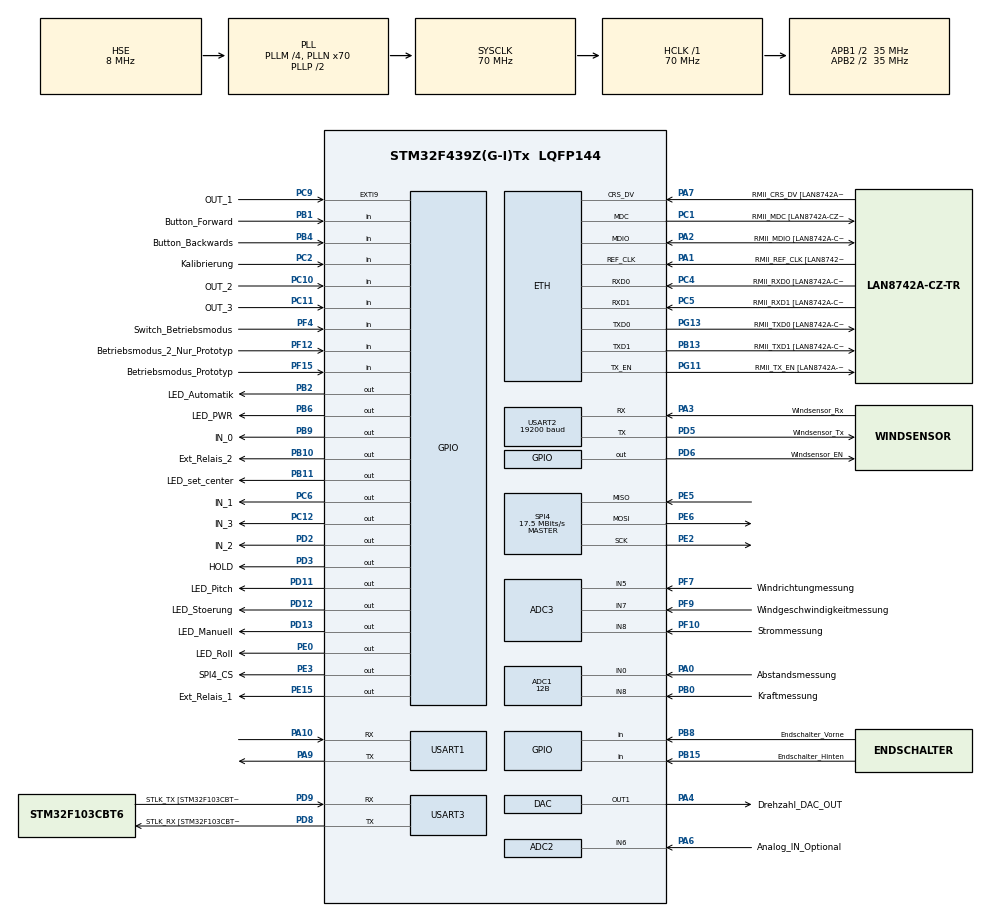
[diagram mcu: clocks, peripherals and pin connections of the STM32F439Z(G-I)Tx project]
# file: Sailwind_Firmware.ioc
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ADC1.Channel-0\#ChannelRegularConversion=ADC_CHANNEL_0
ADC1.Channel-1\#ChannelRegularConversion=ADC_CHANNEL_8
ADC1.ClockPrescaler=ADC_CLOCK_SYNC_PCLK_DIV4
ADC1.ContinuousConvMode=ENABLE
ADC1.NbrOfConversion=2
ADC1.NbrOfConversionFlag=1
ADC1.Rank-0\#ChannelRegularConversion=1
ADC1.Rank-1\#ChannelRegularConversion=2
ADC1.Resolution=ADC_RESOLUTION_12B
ADC1.SamplingTime-0\#ChannelRegularConversion=ADC_SAMPLETIME_144CYCLES
ADC1.SamplingTime-1\#ChannelRegularConversion=ADC_SAMPLETIME_15CYCLES
ADC1.ScanConvMode=ENABLE
ADC1.master=1
ADC2.Channel-1\#ChannelRegularConversion=ADC_CHANNEL_6
ADC2.ClockPrescaler=ADC_CLOCK_SYNC_PCLK_DIV4
ADC2.NbrOfConversionFlag=1
ADC2.Rank-1\#ChannelRegularConversion=1
ADC2.SamplingTime-1\#ChannelRegularConversion=ADC_SAMPLETIME_3CYCLES
ADC3.Channel-2\#ChannelRegularConversion=ADC_CHANNEL_8
ADC3.Channel-3\#ChannelRegularConversion=ADC_CHANNEL_7
ADC3.Channel-4\#ChannelRegularConversion=ADC_CHANNEL_5
ADC3.ClockPrescaler=ADC_CLOCK_SYNC_PCLK_DIV4
ADC3.ContinuousConvMode=ENABLE
ADC3.NbrOfConversion=3
ADC3.NbrOfConversionFlag=1
ADC3.Rank-2\#ChannelRegularConversion=1
ADC3.Rank-3\#ChannelRegularConversion=2
ADC3.Rank-4\#ChannelRegularConversion=3
ADC3.SamplingTime-2\#ChannelRegularConversion=ADC_SAMPLETIME_480CYCLES
ADC3.SamplingTime-3\#ChannelRegularConversion=ADC_SAMPLETIME_480CYCLES
ADC3.SamplingTime-4\#ChannelRegularConversion=ADC_SAMPLETIME_480CYCLES
ETH.MediaInterface=HAL_ETH_RMII_MODE
ETH.PHY_Name=LAN8742A_PHY_ADDRESS
ETH.PHY_Value=0
ETH.PhyAddress=0
LWIP.BSP.number=1
LWIP.GATEWAY_ADDRESS=192.168.000.001
LWIP.IP_ADDRESS=192.168.000.123
LWIP.LWIP_DHCP=0
LWIP.LWIP_HTTPD=1
LWIP.LWIP_HTTPD_CGI=1
LWIP.LWIP_HTTPD_SSI=1
LWIP.MEM_SIZE=10*1024
LWIP.NETMASK_ADDRESS=255.255.255.000
LWIP.Version=v2.1.2_Cube
LWIP0.BSP.STBoard=false
LWIP0.BSP.api=BSP_COMPONENT_DRIVER
LWIP0.BSP.component=LAN8742
LWIP0.BSP.instance=LAN8742
LWIP0.BSP.name=Driver_PHY
LWIP0.BSP.semaphore=S_LAN8742
LWIP0.BSP.solution=LAN8742
Mcu.Family=STM32F4
Mcu.Name=STM32F439Z(G-I)Tx
Mcu.Package=LQFP144
NVIC.EXTI9_5_IRQn=true\:0\:0\:false\:false\:true\:true\:true\:true
NVIC.PriorityGroup=NVIC_PRIORITYGROUP_4
NVIC.TIM1_TRG_COM_TIM11_IRQn=true\:0\:0\:false\:false\:true\:true\:true\:true
NVIC.TIM1_UP_TIM10_IRQn=true\:0\:0\:false\:false\:true\:true\:true\:true
NVIC.TIM2_IRQn=true\:0\:0\:false\:false\:true\:true\:true\:true
NVIC.USART1_IRQn=true\:0\:0\:false\:false\:true\:true\:true\:true
NVIC.USART3_IRQn=true\:0\:0\:false\:false\:true\:true\:true\:true
PA0/WKUP.GPIO_Label=Abstandsmessung
PA0/WKUP.Signal=SharedAnalog_PA0
PA1.GPIO_Label=RMII_REF_CLK [LAN8742A-CZ-TR_REFCLK0]
PA1.Mode=RMII
PA1.Signal=ETH_REF_CLK
PA10.Mode=Asynchronous
PA10.Signal=USART1_RX
PA2.GPIO_Label=RMII_MDIO [LAN8742A-CZ-TR_MDIO]
PA2.Mode=RMII
PA2.Signal=ETH_MDIO
PA3.GPIO_Label=Windsensor_Rx
PA3.Mode=Asynchronous
PA3.Signal=USART2_RX
PA4.GPIO_Label=Drehzahl_DAC_OUT
PA4.Signal=SharedAnalog_PA4
PA6.GPIO_Label=Analog_IN_Optional
PA6.Signal=SharedAnalog_PA6
PA7.GPIO_Label=RMII_CRS_DV [LAN8742A-CZ-TR_CRS_DV]
PA7.Mode=RMII
PA7.Signal=ETH_CRS_DV
PA9.Mode=Asynchronous
PA9.Signal=USART1_TX
PB0.GPIO_Label=Kraftmessung
PB0.Signal=SharedAnalog_PB0
PB1.GPIO_Label=Button_Forward
PB1.Signal=GPIO_Input
PB10.GPIO_Label=Ext_Relais_2
PB10.Signal=GPIO_Output
PB11.GPIO_Label=LED_set_center
PB11.Signal=GPIO_Output
PB13.GPIO_Label=RMII_TXD1 [LAN8742A-CZ-TR_TXD1]
PB13.Mode=RMII
PB13.Signal=ETH_TXD1
PB15.GPIO_Label=Endschalter_Hinten
PB15.GPIO_PuPd=GPIO_PULLDOWN
PB15.Signal=GPIO_Input
PB2/BOOT1.GPIO_Label=LED_Automatik
PB2/BOOT1.PinState=GPIO_PIN_RESET
PB2/BOOT1.Signal=GPIO_Output
PB4.GPIO_Label=Button_Backwards
PB4.GPIO_PuPd=GPIO_NOPULL
PB4.Signal=GPIO_Input
PB6.GPIO_Label=LED_PWR
PB6.PinState=GPIO_PIN_SET
PB6.Signal=GPIO_Output
PB8.GPIO_Label=Endschalter_Vorne
PB8.GPIO_PuPd=GPIO_PULLDOWN
PB8.Signal=GPIO_Input
PB9.GPIO_Label=IN_0
PB9.GPIO_PuPd=GPIO_PULLDOWN
PB9.PinState=GPIO_PIN_RESET
PB9.Signal=GPIO_Output
PC1.GPIO_Label=RMII_MDC [LAN8742A-CZ-TR_MDC]
PC1.Mode=RMII
PC1.Signal=ETH_MDC
PC10.GPIO_Label=OUT_2
PC10.Signal=GPIO_Input
PC11.GPIO_Label=OUT_3
PC11.Signal=GPIO_Input
PC12.GPIO_Label=IN_3
PC12.GPIO_PuPd=GPIO_PULLDOWN
PC12.PinState=GPIO_PIN_RESET
PC12.Signal=GPIO_Output
PC14/OSC32_IN.Mode=LSE-External-Oscillator
PC14/OSC32_IN.Signal=RCC_OSC32_IN
PC15/OSC32_OUT.Mode=LSE-External-Oscillator
PC15/OSC32_OUT.Signal=RCC_OSC32_OUT
PC2.GPIO_Label=Kalibrierung
PC2.Signal=GPIO_Input
PC4.GPIO_Label=RMII_RXD0 [LAN8742A-CZ-TR_RXD0]
PC4.Mode=RMII
PC4.Signal=ETH_RXD0
PC5.GPIO_Label=RMII_RXD1 [LAN8742A-CZ-TR_RXD1]
PC5.Mode=RMII
PC5.Signal=ETH_RXD1
PC6.GPIO_Label=IN_1
PC6.GPIO_PuPd=GPIO_PULLDOWN
PC6.PinState=GPIO_PIN_RESET
PC6.Signal=GPIO_Output
PC9.GPIO_Label=OUT_1
PC9.Signal=GPXTI9
PD11.GPIO_Label=LED_Pitch
PD11.PinState=GPIO_PIN_RESET
PD11.Signal=GPIO_Output
PD12.GPIO_Label=LED_Stoerung
PD12.PinState=GPIO_PIN_RESET
PD12.Signal=GPIO_Output
PD13.GPIO_Label=LED_Manuell
PD13.PinState=GPIO_PIN_RESET
PD13.Signal=GPIO_Output
PD2.GPIO_Label=IN_2
PD2.GPIO_PuPd=GPIO_PULLDOWN
PD2.PinState=GPIO_PIN_RESET
PD2.Signal=GPIO_Output
PD3.GPIO_Label=HOLD
PD3.GPIO_PuPd=GPIO_PULLUP
PD3.PinState=GPIO_PIN_SET
PD3.Signal=GPIO_Output
PD5.GPIO_Label=Windsensor_Tx
PD5.Mode=Asynchronous
PD5.Signal=USART2_TX
PD6.GPIO_Label=Windsensor_EN
PD6.PinState=GPIO_PIN_RESET
PD6.Signal=GPIO_Output
PD8.GPIO_Label=STLK_RX [STM32F103CBT6_PA3]
PD8.Mode=Asynchronous
PD8.Signal=USART3_TX
PD9.GPIO_Label=STLK_TX [STM32F103CBT6_PA2]
PD9.Mode=Asynchronous
PD9.Signal=USART3_RX
PE0.GPIO_Label=LED_Roll
PE0.Signal=GPIO_Output
PE15.GPIO_Label=Ext_Relais_1
PE15.Signal=GPIO_Output
PE2.Mode=Full_Duplex_Master
PE2.Signal=SPI4_SCK
PE3.GPIO_Label=SPI4_CS
PE3.GPIO_PuPd=GPIO_PULLUP
PE3.PinState=GPIO_PIN_SET
PE3.Signal=GPIO_Output
PE5.Mode=Full_Duplex_Master
PE5.Signal=SPI4_MISO
PE6.Mode=Full_Duplex_Master
PE6.Signal=SPI4_MOSI
PF10.GPIO_Label=Strommessung
PF10.Signal=SharedAnalog_PF10
PF12.GPIO_Label=Betriebsmodus_2_Nur_Prototyp
PF12.Signal=GPIO_Input
PF15.GPIO_Label=Betriebsmodus_Prototyp
PF15.Signal=GPIO_Input
PF4.GPIO_Label=Switch_Betriebsmodus
PF4.Signal=GPIO_Input
PF7.GPIO_Label=Windrichtungmessung
PF7.Signal=SharedAnalog_PF7
PF9.GPIO_Label=Windgeschwindigkeitmessung
PF9.Signal=SharedAnalog_PF9
PG11.GPIO_Label=RMII_TX_EN [LAN8742A-CZ-TR_TXEN]
PG11.Mode=RMII
PG11.Signal=ETH_TX_EN
PG13.GPIO_Label=RMII_TXD0 [LAN8742A-CZ-TR_TXD0]
PG13.Mode=RMII
PG13.Signal=ETH_TXD0
PH0/OSC_IN.GPIO_Label=MCO [STM32F103CBT6_PA8]
PH0/OSC_IN.Mode=HSE-External-Clock-Source
PH0/OSC_IN.Signal=RCC_OSC_IN
PH1/OSC_OUT.Mode=HSE-External-Clock-Source
PH1/OSC_OUT.Signal=RCC_OSC_OUT
ProjectManager.HeapSize=0x200
ProjectManager.StackSize=0x400
ProjectManager.TargetToolchain=STM32CubeIDE
RCC.48MHZClocksFreq_Value=20000000
RCC.AHBFreq_Value=70000000
RCC.APB1CLKDivider=RCC_HCLK_DIV2
RCC.APB1Freq_Value=35000000
RCC.APB1TimFreq_Value=70000000
RCC.APB2CLKDivider=RCC_HCLK_DIV2
RCC.APB2Freq_Value=35000000
RCC.APB2TimFreq_Value=70000000
RCC.CortexFreq_Value=70000000
RCC.HCLKFreq_Value=70000000
RCC.HSE_VALUE=8000000
RCC.HSI_VALUE=16000000
RCC.PLLM=4
RCC.PLLMUL=RCC_PLL_MUL9
RCC.PLLN=70
RCC.PLLQ=7
RCC.PLLSourceVirtual=RCC_PLLSOURCE_HSE
RCC.PRESCALERUSB=RCC_USBCLKSOURCE_PLL_DIV1_5
RCC.SYSCLKFreq_VALUE=70000000
RCC.SYSCLKSource=RCC_SYSCLKSOURCE_PLLCLK
RCC.SYSCLKSourceVirtual=RCC_SYSCLKSOURCE_PLLCLK
RCC.USBFreq_Value=48000000
RCC.VCOOutputFreq_Value=140000000
SH.SharedAnalog_PA0.0=GPIO_Analog
SH.SharedAnalog_PA0.1=ADC1_IN0,IN0
SH.SharedAnalog_PA4.0=GPIO_Analog
SH.SharedAnalog_PA4.1=DAC_OUT1,DAC_OUT1
SH.SharedAnalog_PA6.0=GPIO_Analog
SH.SharedAnalog_PA6.1=ADC2_IN6,IN6
SH.SharedAnalog_PB0.0=GPIO_Analog
SH.SharedAnalog_PB0.1=ADC1_IN8,IN8
SH.SharedAnalog_PF10.0=GPIO_Analog
SH.SharedAnalog_PF10.1=ADC3_IN8,IN8
SH.SharedAnalog_PF7.0=GPIO_Analog
SH.SharedAnalog_PF7.1=ADC3_IN5,IN5
SH.SharedAnalog_PF9.0=GPIO_Analog
SH.SharedAnalog_PF9.1=ADC3_IN7,IN7
SPI4.CalculateBaudRate=17.5 MBits/s
SPI4.Direction=SPI_DIRECTION_2LINES
SPI4.Mode=SPI_MODE_MASTER
SPI4.VirtualType=VM_MASTER
TIM10.AutoReloadPreload=TIM_AUTORELOAD_PRELOAD_ENABLE
TIM10.Period=7000
TIM10.Prescaler=10000
TIM11.AutoReloadPreload=TIM_AUTORELOAD_PRELOAD_ENABLE
TIM11.Period=7000
TIM11.Prescaler=2000
TIM2.Period=10000
TIM2.Prescaler=2999
USART1.VirtualMode=VM_ASYNC
USART2.BaudRate=19200
USART2.VirtualMode=VM_ASYNC
USART3.VirtualMode=VM_ASYNC
VP_LWIP_VS_Enabled.Mode=Enabled
VP_TIM10_VS_ClockSourceINT.Mode=Enable_Timer
VP_TIM11_VS_ClockSourceINT.Mode=Enable_Timer
VP_TIM2_VS_ClockSourceINT.Mode=Internal
board=NUCLEO-F439ZI

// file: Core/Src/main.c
/* USER CODE BEGIN Header */
/**
 ******************************************************************************
 * @file           : main.c
 * @brief          : Main program body
 ******************************************************************************
 * @attention
 *
 * Copyright (c) 2023 STMicroelectronics.
 * All rights reserved.
 *
 * This software is licensed under terms that can be found in the LICENSE file
 * in the root directory of this software component.
 * If no LICENSE file comes with this software, it is provided AS-IS.
 *
 ******************************************************************************
 */
/* USER CODE END Header */
#include "main.h"
#include "lwip.h"

/* USER CODE BEGIN Includes */
#include "FRAM.h"
#include "WSWD.h"
#include "Manual_Control.h"
#include "Test.h"
#include "httpd.h"
#include "tcp_server.h"
#include "http_ssi_cgi.h"

/* USER CODE END Includes */

/* USER CODE BEGIN PD */
#define ABSTAND_TEST 0
#define STROM_TEST 0
#define WIND_TEST 0
/* USER CODE END PD */

ADC_HandleTypeDef hadc1;
ADC_HandleTypeDef hadc2;
ADC_HandleTypeDef hadc3;

DAC_HandleTypeDef hdac;

SPI_HandleTypeDef hspi4;

TIM_HandleTypeDef htim2;
TIM_HandleTypeDef htim10;
TIM_HandleTypeDef htim11;

UART_HandleTypeDef huart1;
UART_HandleTypeDef huart2;
UART_HandleTypeDef huart3;

/* USER CODE BEGIN PV */

static Linear_Guide_t *linear_guide = {0};
static Manual_Control_t manual_control;

char Rx_buffer[20];

/* USER CODE END PV */

void SystemClock_Config(void);
static void MX_GPIO_Init(void);
static void MX_USART3_UART_Init(void);
static void MX_ADC1_Init(void);
static void MX_ADC2_Init(void);
static void MX_ADC3_Init(void);
static void MX_DAC_Init(void);
static void MX_USART2_UART_Init(void);
static void MX_SPI4_Init(void);
static void MX_USART1_UART_Init(void);
static void MX_TIM2_Init(void);
static void MX_TIM10_Init(void);
static void MX_TIM11_Init(void);

/* USER CODE BEGIN 0 */
PUTCHAR_PROTOTYPE
{
  /* Place your implementation of fputc here */
  /* e.g. write a character to the USART1 and Loop until the end of transmission */
  HAL_UART_Transmit(&huart3, (uint8_t *)&ch, 1, 0xFFFF);

  return ch;
}
/* USER CODE END 0 */

int main(void)
{
  /* USER CODE BEGIN 1 */
	hdac.State = HAL_DAC_STATE_RESET;
  /* USER CODE END 1 */

  /* MCU Configuration--------------------------------------------------------*/

  /* Reset of all peripherals, Initializes the Flash interface and the Systick. */
  HAL_Init();

  /* Configure the system clock */
  SystemClock_Config();

  /* Initialize all configured peripherals */
  MX_GPIO_Init();
  MX_USART3_UART_Init();
  MX_ADC1_Init();
  MX_ADC2_Init();
  MX_ADC3_Init();
  MX_DAC_Init();
  MX_USART2_UART_Init();
  MX_SPI4_Init();
  MX_USART1_UART_Init();
  MX_LWIP_Init();
  MX_TIM2_Init();
  MX_TIM10_Init();
  MX_TIM11_Init();
  /* USER CODE BEGIN 2 */
  IO_init_distance_sensor(&hadc1);
  IO_init_current_sensor(&hadc3);
  Linear_Guide_init(&hdac, &htim11);
  linear_guide = LG_get_Linear_Guide();
  manual_control = Manual_Control_init(linear_guide, &htim10);

  printf("Sailwind Firmware Ver. 1.0\r\n");

#if LED_TEST
  LED_toggle(&linear_guide.leds.center_pos_set);
  LED_toggle(&linear_guide.leds.error);
  LED_toggle(&linear_guide.leds.manual);
  LED_toggle(&linear_guide.leds.automatic);
  LED_toggle(&linear_guide.leds.rollung);
  LED_toggle(&linear_guide.leds.trimmung);
#endif
#if MOTOR_TEST
  motor_start_moving(&linear_guide.motor, motor_moving_state_rechtslauf);
#endif

#if FRAM_TEST
  uint8_t test[4];
  memset(test, 0, sizeof(test));
  FRAM_init();
  FRAM_write((uint8_t*)"Test", 0x0000, 4);
  HAL_Delay(5);
  FRAM_read(0x0000, test, sizeof(test));
  printf("read from FRAM: %u\r\n", test);
#endif

#if WIND_TEST
  char NMEA[31];
  float speed = 0.0;
  float dir = 0.0;
  WSWD_receive_NMEA(NMEA);
  printf("%s",NMEA);
  WSWD_get_wind_infos(NMEA, &speed, &dir);
  printf("speed:%f, dir:%f\r\n", speed, dir);
#endif

  tcp_server_init();
  http_server_init();

  /* USER CODE END 2 */

  /* Infinite loop */
  /* USER CODE BEGIN WHILE */
  while (1)
  {
      MX_LWIP_Process();
      if (Linear_Guide_update(linear_guide) == LG_UPDATE_NORMAL)
      {
    	  //Test_uart_poll(&huart3, Rx_buffer, &manual_control);
    	  Manual_Control_poll(&manual_control);
    	  Manual_Control_Localization(&manual_control);
      }
      /*
       * add tcp handling
       */
    /* USER CODE END WHILE */

  }
}

void SystemClock_Config(void)
{
  RCC_OscInitTypeDef RCC_OscInitStruct = {0};
  RCC_ClkInitTypeDef RCC_ClkInitStruct = {0};

  /** Configure the main internal regulator output voltage
  */
  __HAL_RCC_PWR_CLK_ENABLE();
  __HAL_PWR_VOLTAGESCALING_CONFIG(PWR_REGULATOR_VOLTAGE_SCALE3);

  /** Initializes the RCC Oscillators according to the specified parameters
  * in the RCC_OscInitTypeDef structure.
  */
  RCC_OscInitStruct.OscillatorType = RCC_OSCILLATORTYPE_HSE;
  RCC_OscInitStruct.HSEState = RCC_HSE_BYPASS;
  RCC_OscInitStruct.PLL.PLLState = RCC_PLL_ON;
  RCC_OscInitStruct.PLL.PLLSource = RCC_PLLSOURCE_HSE;
  RCC_OscInitStruct.PLL.PLLM = 4;
  RCC_OscInitStruct.PLL.PLLN = 70;
  RCC_OscInitStruct.PLL.PLLP = RCC_PLLP_DIV2;
  RCC_OscInitStruct.PLL.PLLQ = 7;
  if (HAL_RCC_OscConfig(&RCC_OscInitStruct) != HAL_OK)
  {
    Error_Handler();
  }

  /** Initializes the CPU, AHB and APB buses clocks
  */
  RCC_ClkInitStruct.ClockType = RCC_CLOCKTYPE_HCLK|RCC_CLOCKTYPE_SYSCLK
                              |RCC_CLOCKTYPE_PCLK1|RCC_CLOCKTYPE_PCLK2;
  RCC_ClkInitStruct.SYSCLKSource = RCC_SYSCLKSOURCE_PLLCLK;
  RCC_ClkInitStruct.AHBCLKDivider = RCC_SYSCLK_DIV1;
  RCC_ClkInitStruct.APB1CLKDivider = RCC_HCLK_DIV2;
  RCC_ClkInitStruct.APB2CLKDivider = RCC_HCLK_DIV2;

  if (HAL_RCC_ClockConfig(&RCC_ClkInitStruct, FLASH_LATENCY_2) != HAL_OK)
  {
    Error_Handler();
  }
}

static void MX_ADC1_Init(void)
{

  /** Configure the global features of the ADC (Clock, Resolution, Data Alignment and number of conversion)
  */
  hadc1.Instance = ADC1;
  hadc1.Init.ClockPrescaler = ADC_CLOCK_SYNC_PCLK_DIV4;
  hadc1.Init.Resolution = ADC_RESOLUTION_12B;
  hadc1.Init.ScanConvMode = ENABLE;
  hadc1.Init.ContinuousConvMode = ENABLE;
  hadc1.Init.DiscontinuousConvMode = DISABLE;
  hadc1.Init.ExternalTrigConvEdge = ADC_EXTERNALTRIGCONVEDGE_NONE;
  hadc1.Init.ExternalTrigConv = ADC_SOFTWARE_START;
  hadc1.Init.DataAlign = ADC_DATAALIGN_RIGHT;
  hadc1.Init.NbrOfConversion = 2;
  hadc1.Init.DMAContinuousRequests = DISABLE;
  hadc1.Init.EOCSelection = ADC_EOC_SINGLE_CONV;
  if (HAL_ADC_Init(&hadc1) != HAL_OK)
  {
    Error_Handler();
  }

}

static void MX_ADC2_Init(void)
{

  /** Configure the global features of the ADC (Clock, Resolution, Data Alignment and number of conversion)
  */
  hadc2.Instance = ADC2;
  hadc2.Init.ClockPrescaler = ADC_CLOCK_SYNC_PCLK_DIV4;
  hadc2.Init.Resolution = ADC_RESOLUTION_12B;
  hadc2.Init.ScanConvMode = DISABLE;
  hadc2.Init.ContinuousConvMode = DISABLE;
  hadc2.Init.DiscontinuousConvMode = DISABLE;
  hadc2.Init.ExternalTrigConvEdge = ADC_EXTERNALTRIGCONVEDGE_NONE;
  hadc2.Init.ExternalTrigConv = ADC_SOFTWARE_START;
  hadc2.Init.DataAlign = ADC_DATAALIGN_RIGHT;
  hadc2.Init.NbrOfConversion = 1;
  hadc2.Init.DMAContinuousRequests = DISABLE;
  hadc2.Init.EOCSelection = ADC_EOC_SINGLE_CONV;
  if (HAL_ADC_Init(&hadc2) != HAL_OK)
  {
    Error_Handler();
  }

}

static void MX_ADC3_Init(void)
{

  /** Configure the global features of the ADC (Clock, Resolution, Data Alignment and number of conversion)
  */
  hadc3.Instance = ADC3;
  hadc3.Init.ClockPrescaler = ADC_CLOCK_SYNC_PCLK_DIV4;
  hadc3.Init.Resolution = ADC_RESOLUTION_12B;
  hadc3.Init.ScanConvMode = ENABLE;
  hadc3.Init.ContinuousConvMode = ENABLE;
  hadc3.Init.DiscontinuousConvMode = DISABLE;
  hadc3.Init.ExternalTrigConvEdge = ADC_EXTERNALTRIGCONVEDGE_NONE;
  hadc3.Init.ExternalTrigConv = ADC_SOFTWARE_START;
  hadc3.Init.DataAlign = ADC_DATAALIGN_RIGHT;
  hadc3.Init.NbrOfConversion = 3;
  hadc3.Init.DMAContinuousRequests = DISABLE;
  hadc3.Init.EOCSelection = ADC_EOC_SINGLE_CONV;
  if (HAL_ADC_Init(&hadc3) != HAL_OK)
  {
    Error_Handler();
  }

}

static void MX_DAC_Init(void)
{

  DAC_ChannelConfTypeDef sConfig = {0};

  /** DAC Initialization
  */
  hdac.Instance = DAC;
  if (HAL_DAC_Init(&hdac) != HAL_OK)
  {
    Error_Handler();
  }

  /** DAC channel OUT1 config
  */
  sConfig.DAC_Trigger = DAC_TRIGGER_NONE;
  sConfig.DAC_OutputBuffer = DAC_OUTPUTBUFFER_ENABLE;
  if (HAL_DAC_ConfigChannel(&hdac, &sConfig, DAC_CHANNEL_1) != HAL_OK)
  {
    Error_Handler();
  }

}

static void MX_SPI4_Init(void)
{

  /* SPI4 parameter configuration*/
  hspi4.Instance = SPI4;
  hspi4.Init.Mode = SPI_MODE_MASTER;
  hspi4.Init.Direction = SPI_DIRECTION_2LINES;
  hspi4.Init.DataSize = SPI_DATASIZE_8BIT;
  hspi4.Init.CLKPolarity = SPI_POLARITY_LOW;
  hspi4.Init.CLKPhase = SPI_PHASE_1EDGE;
  hspi4.Init.NSS = SPI_NSS_SOFT;
  hspi4.Init.BaudRatePrescaler = SPI_BAUDRATEPRESCALER_2;
  hspi4.Init.FirstBit = SPI_FIRSTBIT_MSB;
  hspi4.Init.TIMode = SPI_TIMODE_DISABLE;
  hspi4.Init.CRCCalculation = SPI_CRCCALCULATION_DISABLE;
  hspi4.Init.CRCPolynomial = 10;
  if (HAL_SPI_Init(&hspi4) != HAL_OK)
  {
    Error_Handler();
  }

}

static void MX_TIM2_Init(void)
{

  TIM_ClockConfigTypeDef sClockSourceConfig = {0};
  TIM_MasterConfigTypeDef sMasterConfig = {0};

  htim2.Instance = TIM2;
  htim2.Init.Prescaler = 2999;
  htim2.Init.CounterMode = TIM_COUNTERMODE_UP;
  htim2.Init.Period = 10000;
  htim2.Init.ClockDivision = TIM_CLOCKDIVISION_DIV1;
  htim2.Init.AutoReloadPreload = TIM_AUTORELOAD_PRELOAD_DISABLE;
  if (HAL_TIM_Base_Init(&htim2) != HAL_OK)
  {
    Error_Handler();
  }
  sClockSourceConfig.ClockSource = TIM_CLOCKSOURCE_INTERNAL;
  if (HAL_TIM_ConfigClockSource(&htim2, &sClockSourceConfig) != HAL_OK)
  {
    Error_Handler();
  }
  sMasterConfig.MasterOutputTrigger = TIM_TRGO_RESET;
  sMasterConfig.MasterSlaveMode = TIM_MASTERSLAVEMODE_DISABLE;
  if (HAL_TIMEx_MasterConfigSynchronization(&htim2, &sMasterConfig) != HAL_OK)
  {
    Error_Handler();
  }

}

static void MX_TIM10_Init(void)
{

  htim10.Instance = TIM10;
  htim10.Init.Prescaler = 10000;
  htim10.Init.CounterMode = TIM_COUNTERMODE_UP;
  htim10.Init.Period = 7000;
  htim10.Init.ClockDivision = TIM_CLOCKDIVISION_DIV1;
  htim10.Init.AutoReloadPreload = TIM_AUTORELOAD_PRELOAD_ENABLE;
  if (HAL_TIM_Base_Init(&htim10) != HAL_OK)
  {
    Error_Handler();
  }

}

static void MX_TIM11_Init(void)
{

  htim11.Instance = TIM11;
  htim11.Init.Prescaler = 2000;
  htim11.Init.CounterMode = TIM_COUNTERMODE_UP;
  htim11.Init.Period = 7000;
  htim11.Init.ClockDivision = TIM_CLOCKDIVISION_DIV1;
  htim11.Init.AutoReloadPreload = TIM_AUTORELOAD_PRELOAD_ENABLE;
  if (HAL_TIM_Base_Init(&htim11) != HAL_OK)
  {
    Error_Handler();
  }

}

static void MX_USART1_UART_Init(void)
{

  huart1.Instance = USART1;
  huart1.Init.BaudRate = 115200;
  huart1.Init.WordLength = UART_WORDLENGTH_8B;
  huart1.Init.StopBits = UART_STOPBITS_1;
  huart1.Init.Parity = UART_PARITY_NONE;
  huart1.Init.Mode = UART_MODE_TX_RX;
  huart1.Init.HwFlowCtl = UART_HWCONTROL_NONE;
  huart1.Init.OverSampling = UART_OVERSAMPLING_16;
  if (HAL_UART_Init(&huart1) != HAL_OK)
  {
    Error_Handler();
  }

}

static void MX_USART2_UART_Init(void)
{

  huart2.Instance = USART2;
  huart2.Init.BaudRate = 19200;
  huart2.Init.WordLength = UART_WORDLENGTH_8B;
  huart2.Init.StopBits = UART_STOPBITS_1;
  huart2.Init.Parity = UART_PARITY_NONE;
  huart2.Init.Mode = UART_MODE_TX_RX;
  huart2.Init.HwFlowCtl = UART_HWCONTROL_NONE;
  huart2.Init.OverSampling = UART_OVERSAMPLING_16;
  if (HAL_UART_Init(&huart2) != HAL_OK)
  {
    Error_Handler();
  }

}

static void MX_USART3_UART_Init(void)
{

  huart3.Instance = USART3;
  huart3.Init.BaudRate = 115200;
  huart3.Init.WordLength = UART_WORDLENGTH_8B;
  huart3.Init.StopBits = UART_STOPBITS_1;
  huart3.Init.Parity = UART_PARITY_NONE;
  huart3.Init.Mode = UART_MODE_TX_RX;
  huart3.Init.HwFlowCtl = UART_HWCONTROL_NONE;
  huart3.Init.OverSampling = UART_OVERSAMPLING_16;
  if (HAL_UART_Init(&huart3) != HAL_OK)
  {
    Error_Handler();
  }

}

static void MX_GPIO_Init(void)
{
  GPIO_InitTypeDef GPIO_InitStruct = {0};

  /* GPIO Ports Clock Enable */
  __HAL_RCC_GPIOE_CLK_ENABLE();
  __HAL_RCC_GPIOC_CLK_ENABLE();
  __HAL_RCC_GPIOF_CLK_ENABLE();
  __HAL_RCC_GPIOH_CLK_ENABLE();
  __HAL_RCC_GPIOA_CLK_ENABLE();
  __HAL_RCC_GPIOB_CLK_ENABLE();
  __HAL_RCC_GPIOD_CLK_ENABLE();
  __HAL_RCC_GPIOG_CLK_ENABLE();

  /*Configure GPIO pin Output Level */
  HAL_GPIO_WritePin(SPI4_CS_GPIO_Port, SPI4_CS_Pin, GPIO_PIN_SET);

  /*Configure GPIO pin Output Level */
  HAL_GPIO_WritePin(GPIOB, LED_Automatik_Pin|Ext_Relais_2_Pin|LED_set_center_Pin|IN_0_Pin, GPIO_PIN_RESET);

  /*Configure GPIO pin Output Level */
  HAL_GPIO_WritePin(GPIOE, Ext_Relais_1_Pin|LED_Roll_Pin, GPIO_PIN_RESET);

  /*Configure GPIO pin Output Level */
  HAL_GPIO_WritePin(GPIOD, LED_Pitch_Pin|LED_Stoerung_Pin|LED_Manuell_Pin|IN_2_Pin
                          |Windsensor_EN_Pin, GPIO_PIN_RESET);

  /*Configure GPIO pin Output Level */
  HAL_GPIO_WritePin(GPIOC, IN_1_Pin|IN_3_Pin, GPIO_PIN_RESET);

  /*Configure GPIO pin Output Level */
  HAL_GPIO_WritePin(HOLD_GPIO_Port, HOLD_Pin, GPIO_PIN_SET);

  /*Configure GPIO pin Output Level */
  HAL_GPIO_WritePin(LED_PWR_GPIO_Port, LED_PWR_Pin, GPIO_PIN_SET);

  /*Configure GPIO pin : SPI4_CS_Pin */
  GPIO_InitStruct.Pin = SPI4_CS_Pin;
  GPIO_InitStruct.Mode = GPIO_MODE_OUTPUT_PP;
  GPIO_InitStruct.Pull = GPIO_PULLUP;
  GPIO_InitStruct.Speed = GPIO_SPEED_FREQ_LOW;
  HAL_GPIO_Init(SPI4_CS_GPIO_Port, &GPIO_InitStruct);

  /*Configure GPIO pins : Switch_Betriebsmodus_Pin Betriebsmodus_2_Nur_Prototyp_Pin Betriebsmodus_Prototyp_Pin */
  GPIO_InitStruct.Pin = Switch_Betriebsmodus_Pin|Betriebsmodus_2_Nur_Prototyp_Pin|Betriebsmodus_Prototyp_Pin;
  GPIO_InitStruct.Mode = GPIO_MODE_INPUT;
  GPIO_InitStruct.Pull = GPIO_NOPULL;
  HAL_GPIO_Init(GPIOF, &GPIO_InitStruct);

  /*Configure GPIO pins : Kalibrierung_Pin OUT_2_Pin OUT_3_Pin */
  GPIO_InitStruct.Pin = Kalibrierung_Pin|OUT_2_Pin|OUT_3_Pin;
  GPIO_InitStruct.Mode = GPIO_MODE_INPUT;
  GPIO_InitStruct.Pull = GPIO_NOPULL;
  HAL_GPIO_Init(GPIOC, &GPIO_InitStruct);

  /*Configure GPIO pins : Button_Forward_Pin Button_Backwards_Pin */
  GPIO_InitStruct.Pin = Button_Forward_Pin|Button_Backwards_Pin;
  GPIO_InitStruct.Mode = GPIO_MODE_INPUT;
  GPIO_InitStruct.Pull = GPIO_NOPULL;
  HAL_GPIO_Init(GPIOB, &GPIO_InitStruct);

  /*Configure GPIO pins : LED_Automatik_Pin Ext_Relais_2_Pin LED_set_center_Pin LED_PWR_Pin */
  GPIO_InitStruct.Pin = LED_Automatik_Pin|Ext_Relais_2_Pin|LED_set_center_Pin|LED_PWR_Pin;
  GPIO_InitStruct.Mode = GPIO_MODE_OUTPUT_PP;
  GPIO_InitStruct.Pull = GPIO_NOPULL;
  GPIO_InitStruct.Speed = GPIO_SPEED_FREQ_LOW;
  HAL_GPIO_Init(GPIOB, &GPIO_InitStruct);

  /*Configure GPIO pins : Ext_Relais_1_Pin LED_Roll_Pin */
  GPIO_InitStruct.Pin = Ext_Relais_1_Pin|LED_Roll_Pin;
  GPIO_InitStruct.Mode = GPIO_MODE_OUTPUT_PP;
  GPIO_InitStruct.Pull = GPIO_NOPULL;
  GPIO_InitStruct.Speed = GPIO_SPEED_FREQ_LOW;
  HAL_GPIO_Init(GPIOE, &GPIO_InitStruct);

  /*Configure GPIO pins : Endschalter_Hinten_Pin Endschalter_Vorne_Pin */
  GPIO_InitStruct.Pin = Endschalter_Hinten_Pin|Endschalter_Vorne_Pin;
  GPIO_InitStruct.Mode = GPIO_MODE_INPUT;
  GPIO_InitStruct.Pull = GPIO_PULLDOWN;
  HAL_GPIO_Init(GPIOB, &GPIO_InitStruct);

  /*Configure GPIO pins : LED_Pitch_Pin LED_Stoerung_Pin LED_Manuell_Pin Windsensor_EN_Pin */
  GPIO_InitStruct.Pin = LED_Pitch_Pin|LED_Stoerung_Pin|LED_Manuell_Pin|Windsensor_EN_Pin;
  GPIO_InitStruct.Mode = GPIO_MODE_OUTPUT_PP;
  GPIO_InitStruct.Pull = GPIO_NOPULL;
  GPIO_InitStruct.Speed = GPIO_SPEED_FREQ_LOW;
  HAL_GPIO_Init(GPIOD, &GPIO_InitStruct);

  /*Configure GPIO pins : IN_1_Pin IN_3_Pin */
  GPIO_InitStruct.Pin = IN_1_Pin|IN_3_Pin;
  GPIO_InitStruct.Mode = GPIO_MODE_OUTPUT_PP;
  GPIO_InitStruct.Pull = GPIO_PULLDOWN;
  GPIO_InitStruct.Speed = GPIO_SPEED_FREQ_LOW;
  HAL_GPIO_Init(GPIOC, &GPIO_InitStruct);

  /*Configure GPIO pin : OUT_1_Pin */
  GPIO_InitStruct.Pin = OUT_1_Pin;
  GPIO_InitStruct.Mode = GPIO_MODE_IT_RISING;
  GPIO_InitStruct.Pull = GPIO_NOPULL;
  HAL_GPIO_Init(OUT_1_GPIO_Port, &GPIO_InitStruct);

  /*Configure GPIO pin : IN_2_Pin */
  GPIO_InitStruct.Pin = IN_2_Pin;
  GPIO_InitStruct.Mode = GPIO_MODE_OUTPUT_PP;
  GPIO_InitStruct.Pull = GPIO_PULLDOWN;
  GPIO_InitStruct.Speed = GPIO_SPEED_FREQ_LOW;
  HAL_GPIO_Init(IN_2_GPIO_Port, &GPIO_InitStruct);

  /*Configure GPIO pin : HOLD_Pin */
  GPIO_InitStruct.Pin = HOLD_Pin;
  GPIO_InitStruct.Mode = GPIO_MODE_OUTPUT_PP;
  GPIO_InitStruct.Pull = GPIO_PULLUP;
  GPIO_InitStruct.Speed = GPIO_SPEED_FREQ_LOW;
  HAL_GPIO_Init(HOLD_GPIO_Port, &GPIO_InitStruct);

  /*Configure GPIO pin : IN_0_Pin */
  GPIO_InitStruct.Pin = IN_0_Pin;
  GPIO_InitStruct.Mode = GPIO_MODE_OUTPUT_PP;
  GPIO_InitStruct.Pull = GPIO_PULLDOWN;
  GPIO_InitStruct.Speed = GPIO_SPEED_FREQ_LOW;
  HAL_GPIO_Init(IN_0_GPIO_Port, &GPIO_InitStruct);

  /* EXTI interrupt init*/
  HAL_NVIC_SetPriority(EXTI9_5_IRQn, 0, 0);
  HAL_NVIC_EnableIRQ(EXTI9_5_IRQn);

}

/* USER CODE BEGIN 4 */
void HAL_GPIO_EXTI_Callback(uint16_t GPIO_Pin) {
  Linear_Guide_callback_motor_pulse_capture(linear_guide);
}

void HAL_TIM_PeriodElapsedCallback(TIM_HandleTypeDef *htim)
{
  // Check which version of the timer triggered this callback and toggle LED
  if (htim == &htim2 )
  {
    printf("executing reset\r\n");
    HAL_TIM_Base_Stop(&htim2);
    HAL_TIM_Base_Stop_IT(&htim2);
    HAL_NVIC_SystemReset();
  }
  else if (htim == manual_control.htim_reset_ptr)
  {
	  Manual_Control_long_press_callback(&manual_control);
  }
  else if (htim == linear_guide->leds.htim_blink_ptr)
  {
	  LED_blink_callback(htim);
  }
}
/* USER CODE END 4 */

void Error_Handler(void)
{
		__disable_irq();
		while (1)
		{
		}
}
